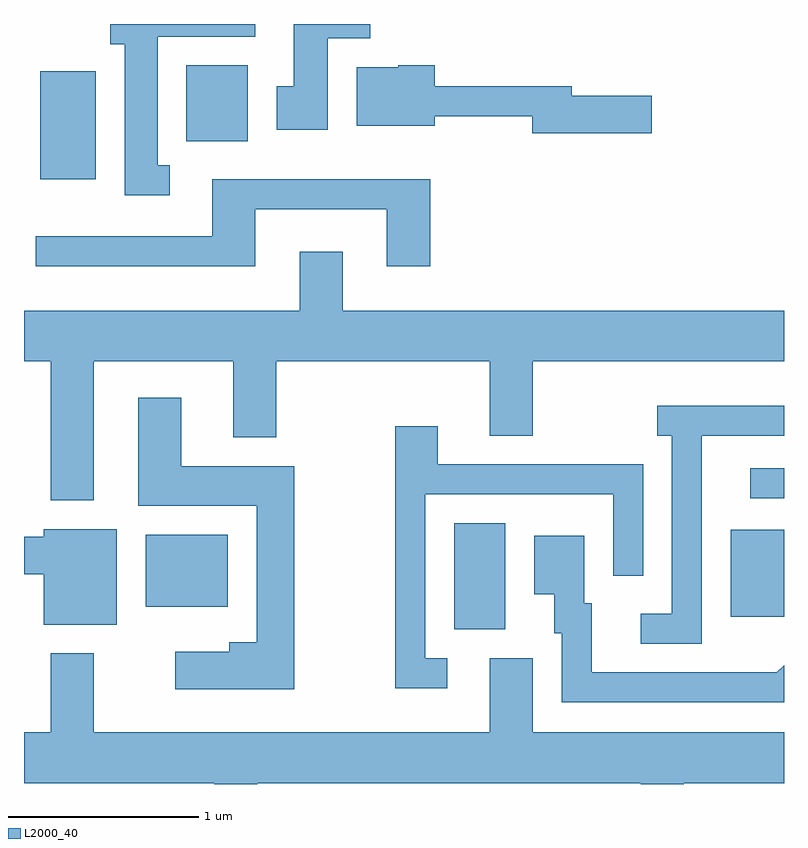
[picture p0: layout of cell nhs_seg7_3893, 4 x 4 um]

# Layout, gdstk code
import gdstk
lib = gdstk.Library(unit=1e-6, precision=1e-09)
def R(c, l, rs):  # rectangles x0, y0, x1, y1
    for r in rs: c.add(gdstk.rectangle(r[:2], r[2:], *l))
def P(c, l, *ps):  # polygons
    for p in ps: c.add(gdstk.Polygon(p, *l))
L2000_40 = (2000, 40)

nhs_seg7_3893 = lib.new_cell('nhs_seg7_3893')
R(nhs_seg7_3893, L2000_40, [(305.876,1775.066,306.144,1775.624), (307.331,1775.131,307.611,1775.589), (304.251,1775.186,304.684,1775.564), (307.433,1775.756,307.611,1775.914), (303.696,1777.436,303.989,1778.004), (304.466,1777.636,304.789,1778.034)])
P(nhs_seg7_3893, L2000_40, [(305.209,1778.176),(305.434,1778.176),(305.434,1778.252),(305.031,1778.252),(305.031,1777.924),(304.941,1777.924),(304.941,1777.696),(305.209,1777.696)],
  [(304.378,1777.509),(304.314,1777.509),(304.314,1778.186),(304.829,1778.186),(304.829,1778.252),(304.066,1778.252),(304.066,1778.146),(304.141,1778.146),(304.141,1777.351),(304.378,1777.351)],
  [(306.914,1777.874),(306.494,1777.874),(306.494,1777.924),(305.774,1777.924),(305.774,1778.034),(305.58,1778.034),(305.58,1778.024),(305.361,1778.024),(305.361,1777.716),(305.774,1777.716),(305.774,1777.766),(306.286,1777.766),(306.286,1777.676),(306.914,1777.676)],
  [(304.829,1777.276),(305.521,1777.276),(305.521,1776.976),(305.749,1776.976),(305.749,1777.434),(304.601,1777.434),(304.601,1777.134),(303.673,1777.134),(303.673,1776.976),(304.829,1776.976)],
  [(303.979,1776.476),(304.711,1776.476),(304.711,1776.076),(304.939,1776.076),(304.939,1776.476),(306.061,1776.476),(306.061,1776.086),(306.289,1776.086),(306.289,1776.476),(307.611,1776.476),(307.611,1776.744),(305.289,1776.744),(305.289,1777.054),(305.061,1777.054),(305.061,1776.744),(303.611,1776.744),(303.611,1776.476),(303.751,1776.476),(303.751,1775.746),(303.979,1775.746)],
  [(305.034,1775.924),(304.439,1775.924),(304.439,1776.284),(304.211,1776.284),(304.211,1775.716),(304.836,1775.716),(304.836,1774.999),(304.691,1774.999),(304.691,1774.949),(304.406,1774.949),(304.406,1774.751),(305.034,1774.751)],
  [(307.179,1776.086),(307.611,1776.086),(307.611,1776.244),(306.943,1776.244),(306.943,1776.086),(307.021,1776.086),(307.021,1775.149),(306.858,1775.149),(306.858,1774.991),(307.179,1774.991)],
  [(305.838,1774.914),(305.724,1774.914),(305.724,1775.776),(306.711,1775.776),(306.711,1775.348),(306.869,1775.348),(306.869,1775.934),(305.789,1775.934),(305.789,1776.134),(305.566,1776.134),(305.566,1774.756),(305.838,1774.756)],
  [(304.099,1775.594),(303.716,1775.594),(303.716,1775.554),(303.611,1775.554),(303.611,1775.356),(303.716,1775.356),(303.716,1775.091),(304.099,1775.091)],
  [(307.611,1774.876),(307.574,1774.839),(306.599,1774.839),(306.599,1775.204),(306.559,1775.204),(306.559,1775.559),(306.296,1775.559),(306.296,1775.251),(306.401,1775.251),(306.401,1775.046),(306.441,1775.046),(306.441,1774.681),(307.611,1774.681)],
  [(304.839,1774.256),(306.856,1774.256),(306.856,1774.252),(307.084,1774.252),(307.084,1774.256),(307.611,1774.256),(307.611,1774.524),(306.289,1774.524),(306.289,1774.914),(306.061,1774.914),(306.061,1774.524),(303.979,1774.524),(303.979,1774.939),(303.751,1774.939),(303.751,1774.524),(303.611,1774.524),(303.611,1774.256),(304.611,1774.256),(304.611,1774.252),(304.839,1774.252)])

lib.write_gds('nhs_seg7_3893.gds')
